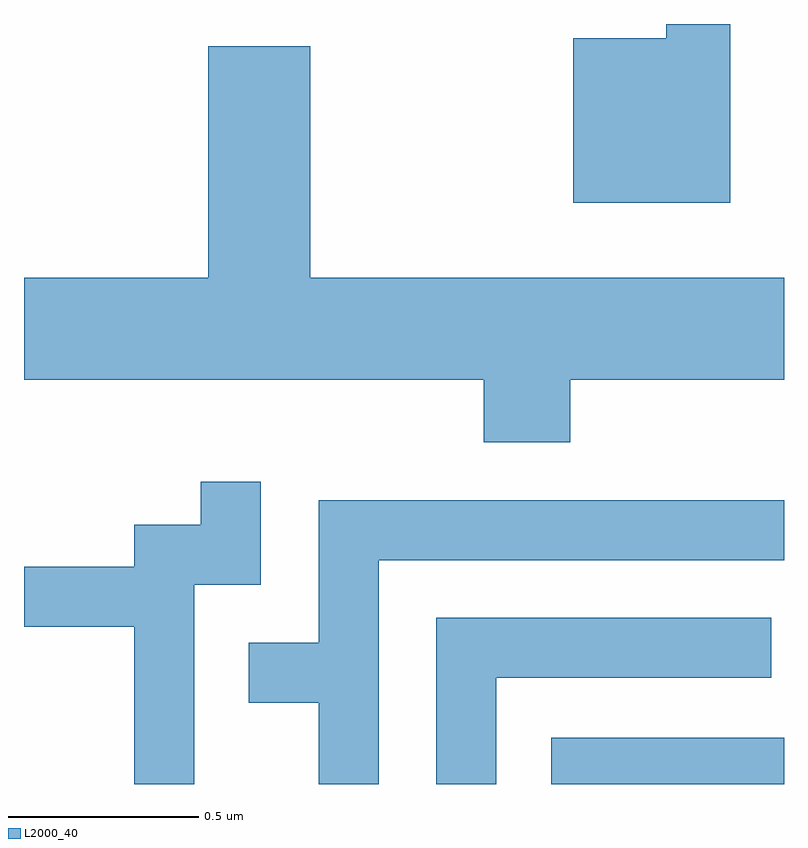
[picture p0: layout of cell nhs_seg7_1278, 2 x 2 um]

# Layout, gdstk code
import gdstk
lib = gdstk.Library(unit=1e-6, precision=1e-09)
def R(c, l, rs):  # rectangles x0, y0, x1, y1
    for r in rs: c.add(gdstk.rectangle(r[:2], r[2:], *l))
def P(c, l, *ps):  # polygons
    for p in ps: c.add(gdstk.Polygon(p, *l))
L2000_40 = (2000, 40)

nhs_seg7_1278 = lib.new_cell('nhs_seg7_1278')
R(nhs_seg7_1278, L2000_40, [(195.998,1713.252,196.611,1713.374)])
P(nhs_seg7_1278, L2000_40, [(196.469,1715.252),(196.301,1715.252),(196.301,1715.214),(196.056,1715.214),(196.056,1714.781),(196.469,1714.781)],
  [(196.049,1714.316),(196.611,1714.316),(196.611,1714.584),(195.364,1714.584),(195.364,1715.194),(195.096,1715.194),(195.096,1714.584),(194.611,1714.584),(194.611,1714.316),(195.821,1714.316),(195.821,1714.151),(196.049,1714.151)],
  [(195.059,1713.776),(195.234,1713.776),(195.234,1714.048),(195.076,1714.048),(195.076,1713.934),(194.901,1713.934),(194.901,1713.824),(194.611,1713.824),(194.611,1713.666),(194.901,1713.666),(194.901,1713.252),(195.059,1713.252)],
  [(195.544,1713.841),(196.611,1713.841),(196.611,1713.999),(195.386,1713.999),(195.386,1713.624),(195.203,1713.624),(195.203,1713.466),(195.386,1713.466),(195.386,1713.252),(195.544,1713.252)],
  [(195.854,1713.531),(196.578,1713.531),(196.578,1713.689),(195.696,1713.689),(195.696,1713.252),(195.854,1713.252)])

lib.write_gds('nhs_seg7_1278.gds')
